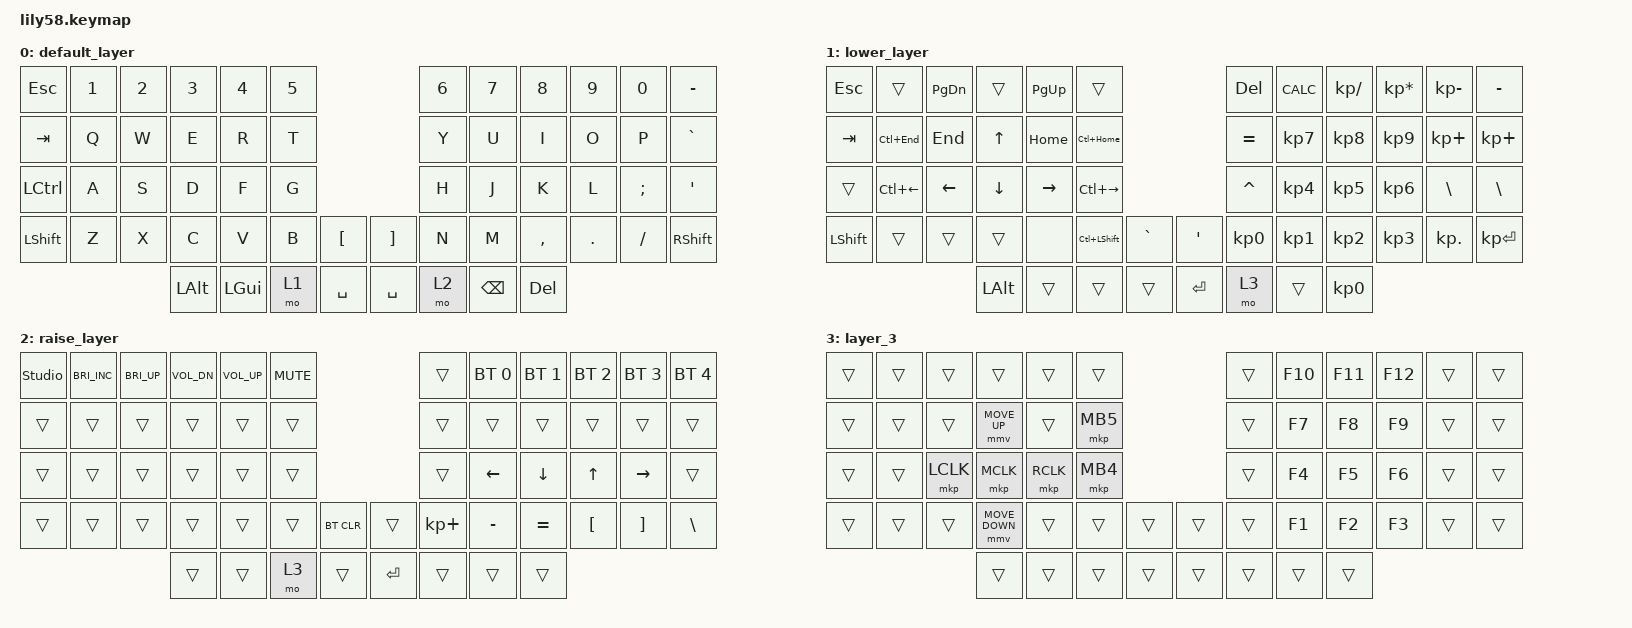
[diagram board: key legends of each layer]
/*
 * Copyright (c) 2020 The ZMK Contributors
 *
 * SPDX-License-Identifier: MIT
 */

#include <behaviors.dtsi>
#include <dt-bindings/zmk/bt.h>
#include <dt-bindings/zmk/keys.h>
#include <dt-bindings/zmk/pointing.h>

/ {
    keymap {
        compatible = "zmk,keymap";

        default_layer {
            // ------------------------------------------------------------------------------------------------------------
            // |  ESC  |  1  |  2  |  3   |  4   |  5   |                   |  6   |  7    |  8    |  9   |   0   |   `   |
            // |  TAB  |  Q  |  W  |  E   |  R   |  T   |                   |  Y   |  U    |  I    |  O   |   P   |   -   |
            // |  CTRL |  A  |  S  |  D   |  F   |  G   |                   |  H   |  J    |  K    |  L   |   ;   |   '   |
            // | SHIFT |  Z  |  X  |  C   |  V   |  B   |   "["  |  |  "]"  |  N   |  M    |  ,    |  .   |   /   | SHIFT |
            //                     | ALT  | GUI  | LOWER|  SPACE |  | ENTER | RAISE| BSPC  | GUI   |

            bindings = <
&kp ESC    &kp N1  &kp N2  &kp N3    &kp N4    &kp N5                          &kp N6  &kp N7    &kp N8     &kp N9   &kp N0    &kp MINUS
&kp TAB    &kp Q   &kp W   &kp E     &kp R     &kp T                           &kp Y   &kp U     &kp I      &kp O    &kp P     &kp GRAVE
&kp LCTRL  &kp A   &kp S   &kp D     &kp F     &kp G                           &kp H   &kp J     &kp K      &kp L    &kp SEMI  &kp SQT
&kp LSHFT  &kp Z   &kp X   &kp C     &kp V     &kp B   &kp LBKT     &kp RBKT   &kp N   &kp M     &kp COMMA  &kp DOT  &kp FSLH  &kp RSHFT
                           &kp LALT  &kp LGUI  &mo 1   &kp SPACE    &kp SPACE  &mo 2   &kp BSPC  &kp DEL
            >;
        };

        lower_layer {
            // ------------------------------------------------------------------------------------------------------------
            // |       | BRDn | BRUp |  MUT |  Vo- |  Vo+ |                   |      |       |       |      |       |       |
            // |  F1   |  F2  |  F3  |  F4  |  F5  |  F6  |                   |  F7  |  F8   |  F9   |  F10 |  F11  |  F12  |
            // |   `   |  !   |  @   |  #   |  $   |  %   |                   |  ^   |  &    |  *    |  (   |   )   |   ~   |
            // |       |      |      |      |      |      |        |  |       |      |  _    |  +    |  {   |   }   |  "|"  |
            //                       |      |      |      |        |  |       |      |       |       |

            bindings = <
&kp ESCAPE  &trans              &kp PAGE_DOWN  &trans    &kp PAGE_UP      &trans                                        &kp DELETE  &kp K_CALC  &kp KP_SLASH  &kp KP_MULTIPLY  &kp KP_MINUS   &kp MINUS
&kp TAB     &kp LC(END)         &kp END        &kp UP    &kp HOME         &kp LC(HOME)                                  &kp EQUAL   &kp KP_N7   &kp KP_N8     &kp KP_N9        &kp KP_PLUS    &kp KP_PLUS
&trans      &kp LC(LEFT_ARROW)  &kp LEFT       &kp DOWN  &kp RIGHT_ARROW  &kp LC(RIGHT_ARROW)                           &kp CARET   &kp KP_N4   &kp KP_N5     &kp KP_N6        &kp BACKSLASH  &kp BACKSLASH
&kp LSHFT   &trans              &trans         &trans    &none            &kp LC(LSHFT)        &kp GRAVE    &kp SQT     &kp KP_N0   &kp KP_N1   &kp KP_N2     &kp KP_N3        &kp KP_DOT     &kp KP_ENTER
                                               &kp LALT  &trans           &trans               &trans       &kp RETURN  &mo 3       &trans      &kp KP_N0
            >;
        };

        raise_layer {
            // ------------------------------------------------------------------------------------------------------------
            // |       |     |     |      |      |      |                   | Bt clear | Bt 0 | Bt 1 | Bt 2 | Bt 3 | Bt 4 |
            // |   `   |  1  |  2  |  3   |  4   |  5   |                   |          |      |      |      |      |      |
            // |   F1  |  F2 |  F3 |  F4  |  F5  |  F6  |                   |          |  <-  |  v   |  ^   |  ->  |      |
            // |   F7  |  F8 |  F9 |  F10 |  F11 |  F12 |        |  |       |    +     |  -   |  =   |  [   |  ]   |  \   |
            //                     |      |      |      |        |  |       |          |      |      |

            bindings = <
&studio_unlock  &kp C_BRI_INC  &kp C_BRI_UP  &kp C_VOL_DN  &kp C_VOLUME_UP  &kp C_MUTE                         &trans       &bt BT_SEL 0  &bt BT_SEL 1  &bt BT_SEL 2  &bt BT_SEL 3  &bt BT_SEL 4
&trans          &trans         &trans        &trans        &trans           &trans                             &trans       &trans        &trans        &trans        &trans        &trans
&trans          &trans         &trans        &trans        &trans           &trans                             &trans       &kp LEFT      &kp DOWN      &kp UP        &kp RIGHT     &trans
&trans          &trans         &trans        &trans        &trans           &trans      &bt BT_CLR    &trans   &kp KP_PLUS  &kp MINUS     &kp EQUAL     &kp LBKT      &kp RBKT      &kp BSLH
                                             &trans        &trans           &mo 3       &trans        &kp RET  &trans       &trans        &trans
            >;
        };

        layer_3 {
            bindings = <
&trans  &trans  &trans     &trans          &trans     &trans                      &trans  &kp F10  &kp F11  &kp F12  &trans  &trans
&trans  &trans  &trans     &mmv MOVE_UP    &trans     &mkp MB5                    &trans  &kp F7   &kp F8   &kp F9   &trans  &trans
&trans  &trans  &mkp LCLK  &mkp MCLK       &mkp RCLK  &mkp MB4                    &trans  &kp F4   &kp F5   &kp F6   &trans  &trans
&trans  &trans  &trans     &mmv MOVE_DOWN  &trans     &trans    &trans    &trans  &trans  &kp F1   &kp F2   &kp F3   &trans  &trans
                           &trans          &trans     &trans    &trans    &trans  &trans  &trans   &trans
            >;
        };
    };
};
